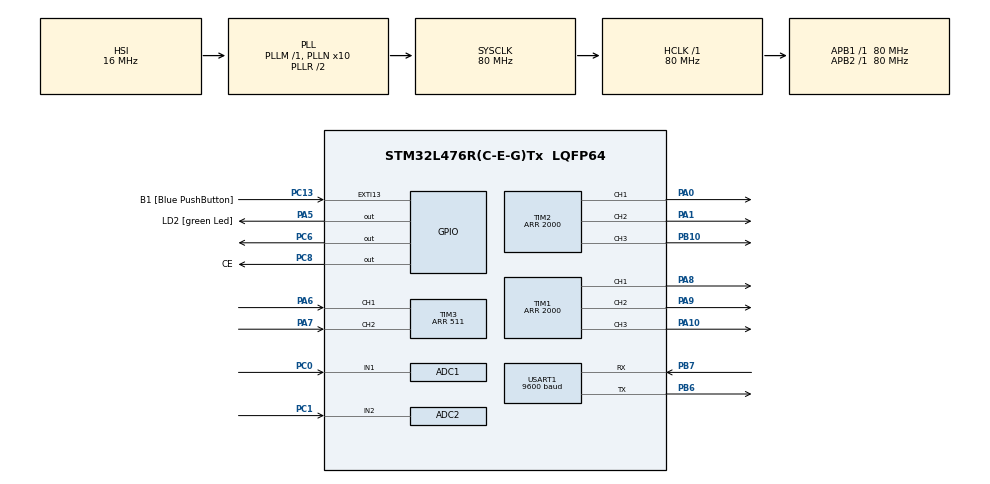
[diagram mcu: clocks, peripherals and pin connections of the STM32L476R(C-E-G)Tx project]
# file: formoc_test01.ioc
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ADC1.DMAAccessModeView=ENABLE
ADC1.DMAContinuousRequests=ENABLE
ADC1.ExternalTrigConv=ADC_EXTERNALTRIG_T15_TRGO
ADC1.Mode=ADC_DUALMODE_REGSIMULT
ADC1.NbrOfConversionFlag=1
ADC1.SamplingTime-1\#ChannelRegularConversion=ADC_SAMPLETIME_247CYCLES_5
ADC1.master=1
ADC2.Channel-0\#ChannelRegularConversion=ADC_CHANNEL_2
ADC2.ContinuousConvMode=DISABLE
ADC2.DMAAccessModeView=ENABLE
ADC2.DMAContinuousRequests=DISABLE
ADC2.Mode=ADC_DUALMODE_REGSIMULT
ADC2.NbrOfConversion=1
ADC2.NbrOfConversionFlag=1
ADC2.OffsetNumber-0\#ChannelRegularConversion=ADC_OFFSET_NONE
ADC2.Overrun=ADC_OVR_DATA_PRESERVED
ADC2.Rank-0\#ChannelRegularConversion=1
ADC2.Resolution=ADC_RESOLUTION_12B
ADC2.SamplingTime-0\#ChannelRegularConversion=ADC_SAMPLETIME_247CYCLES_5
Dma.ADC1.0.Direction=DMA_PERIPH_TO_MEMORY
Dma.ADC1.0.Instance=DMA1_Channel1
Dma.ADC1.0.MemDataAlignment=DMA_MDATAALIGN_WORD
Dma.ADC1.0.MemInc=DMA_MINC_ENABLE
Dma.ADC1.0.Mode=DMA_CIRCULAR
Dma.ADC1.0.PeriphDataAlignment=DMA_PDATAALIGN_WORD
Dma.ADC1.0.PeriphInc=DMA_PINC_DISABLE
Dma.ADC1.0.Priority=DMA_PRIORITY_LOW
Dma.Request0=ADC1
Mcu.Family=STM32L4
Mcu.Name=STM32L476R(C-E-G)Tx
Mcu.Package=LQFP64
NVIC.DMA1_Channel1_IRQn=true\:0\:0\:false\:false\:true\:false\:true
NVIC.PriorityGroup=NVIC_PRIORITYGROUP_4
NVIC.TIM1_TRG_COM_TIM17_IRQn=true\:6\:0\:true\:false\:true\:true\:true
NVIC.TIM1_UP_TIM16_IRQn=true\:0\:0\:false\:false\:true\:true\:true
NVIC.TIM2_IRQn=true\:0\:0\:true\:false\:true\:true\:true
PA0.Signal=S_TIM2_CH1
PA1.Signal=S_TIM2_CH2
PA10.Signal=S_TIM1_CH3
PA13\ (JTMS-SWDIO).GPIO_Label=TMS
PA13\ (JTMS-SWDIO).Mode=Serial_Wire
PA13\ (JTMS-SWDIO).Signal=SYS_JTMS-SWDIO
PA14\ (JTCK-SWCLK).GPIO_Label=TCK
PA14\ (JTCK-SWCLK).Mode=Serial_Wire
PA14\ (JTCK-SWCLK).Signal=SYS_JTCK-SWCLK
PA2.GPIO_Label=USART_TX
PA2.GPIO_Mode=GPIO_MODE_AF_PP
PA2.GPIO_PuPd=GPIO_NOPULL
PA2.GPIO_Speed=GPIO_SPEED_FREQ_VERY_HIGH
PA2.Signal=USART2_TX
PA3.GPIO_Label=USART_RX
PA3.GPIO_Mode=GPIO_MODE_AF_PP
PA3.GPIO_PuPd=GPIO_NOPULL
PA3.GPIO_Speed=GPIO_SPEED_FREQ_VERY_HIGH
PA3.Signal=USART2_RX
PA5.GPIO_Label=LD2 [green Led]
PA5.GPIO_ModeDefaultOutputPP=GPIO_MODE_OUTPUT_PP
PA5.GPIO_PuPd=GPIO_NOPULL
PA5.GPIO_Speed=GPIO_SPEED_FREQ_LOW
PA5.Signal=GPIO_Output
PA6.Signal=S_TIM3_CH1
PA7.Signal=S_TIM3_CH2
PA8.Signal=S_TIM1_CH1
PA9.Signal=S_TIM1_CH2
PB10.Signal=S_TIM2_CH3
PB3\ (JTDO-TRACESWO).GPIO_Label=SWO
PB3\ (JTDO-TRACESWO).Signal=SYS_JTDO-SWO
PB6.GPIO_FM6=__NULL
PB6.GPIO_ModeDefaultPP=GPIO_MODE_AF_OD
PB6.GPIO_PuPd=GPIO_PULLUP
PB6.Mode=Asynchronous
PB6.Signal=USART1_TX
PB7.GPIO_FM7=__NULL
PB7.GPIO_ModeDefaultPP=GPIO_MODE_AF_OD
PB7.GPIO_PuPd=GPIO_PULLUP
PB7.Mode=Asynchronous
PB7.Signal=USART1_RX
PC0.Signal=ADCx_IN1
PC1.Signal=ADCx_IN2
PC13.GPIO_Label=B1 [Blue PushButton]
PC13.GPIO_ModeDefaultEXTI=GPIO_MODE_IT_FALLING
PC13.GPIO_PuPd=GPIO_NOPULL
PC13.Signal=GPXTI13
PC14-OSC32_IN\ (PC14).Mode=LSE-External-Oscillator
PC14-OSC32_IN\ (PC14).Signal=RCC_OSC32_IN
PC15-OSC32_OUT\ (PC15).Mode=LSE-External-Oscillator
PC15-OSC32_OUT\ (PC15).Signal=RCC_OSC32_OUT
PC2.Signal=ADCx_IN3
PC6.Signal=GPIO_Output
PC8.GPIO_Label=CE
PC8.GPIO_Speed=GPIO_SPEED_FREQ_MEDIUM
PC8.Signal=GPIO_Output
PH0-OSC_IN\ (PH0).Signal=RCC_OSC_IN
PH1-OSC_OUT\ (PH1).Signal=RCC_OSC_OUT
ProjectManager.HeapSize=0x200
ProjectManager.StackSize=0x400
ProjectManager.TargetToolchain=STM32CubeIDE
RCC.ADCFreq_Value=80000000
RCC.AHBFreq_Value=80000000
RCC.APB1Freq_Value=80000000
RCC.APB1TimFreq_Value=80000000
RCC.APB2Freq_Value=80000000
RCC.APB2TimFreq_Value=80000000
RCC.CortexFreq_Value=80000000
RCC.HCLKFreq_Value=80000000
RCC.HSE_VALUE=8000000
RCC.HSI_VALUE=16000000
RCC.MSI_VALUE=4000000
RCC.PLLN=10
RCC.PLLSAI1N=10
RCC.PLLSourceVirtual=RCC_PLLSOURCE_HSI
RCC.PREFETCH_ENABLE=1
RCC.SYSCLKFreq_VALUE=80000000
RCC.SYSCLKSource=RCC_SYSCLKSOURCE_PLLCLK
RCC.USBFreq_Value=80000000
RCC.VCOOutputFreq_Value=160000000
SH.ADCx_IN1.0=ADC1_IN1,IN1-Single-Ended
SH.ADCx_IN2.0=ADC2_IN2,IN2-Single-Ended
SH.ADCx_IN3.0=ADC3_IN3
SH.S_TIM1_CH1.0=TIM1_CH1,PWM Generation1 CH1
SH.S_TIM1_CH2.0=TIM1_CH2,PWM Generation2 CH2
SH.S_TIM1_CH3.0=TIM1_CH3,PWM Generation3 CH3
SH.S_TIM2_CH1.0=TIM2_CH1,PWM Generation1 CH1
SH.S_TIM2_CH2.0=TIM2_CH2,PWM Generation2 CH2
SH.S_TIM2_CH3.0=TIM2_CH3,PWM Generation3 CH3
SH.S_TIM3_CH1.0=TIM3_CH1,Encoder_Interface
SH.S_TIM3_CH2.0=TIM3_CH2,Encoder_Interface
TIM1.Channel-PWM\ Generation1\ CH1=TIM_CHANNEL_1
TIM1.Channel-PWM\ Generation2\ CH2=TIM_CHANNEL_2
TIM1.Channel-PWM\ Generation3\ CH3=TIM_CHANNEL_3
TIM1.CounterMode=TIM_COUNTERMODE_CENTERALIGNED1
TIM1.OCPolarity_1=TIM_OCPOLARITY_LOW
TIM1.OCPolarity_2=TIM_OCPOLARITY_LOW
TIM1.OCPolarity_3=TIM_OCPOLARITY_LOW
TIM1.Period=2000
TIM1.TIM_MasterOutputTrigger=TIM_TRGO_UPDATE
TIM1.TIM_MasterSlaveMode=TIM_MASTERSLAVEMODE_DISABLE
TIM15.Period=3999
TIM15.TIM_MasterOutputTrigger=TIM_TRGO_UPDATE
TIM16.Period=99
TIM16.Prescaler=99
TIM17.Period=9999
TIM17.Prescaler=7999
TIM2.Channel-PWM\ Generation1\ CH1=TIM_CHANNEL_1
TIM2.Channel-PWM\ Generation2\ CH2=TIM_CHANNEL_2
TIM2.Channel-PWM\ Generation3\ CH3=TIM_CHANNEL_3
TIM2.CounterMode=TIM_COUNTERMODE_CENTERALIGNED1
TIM2.Period=2000
TIM3.Period=511
USART1.BaudRate=9600
USART1.DMADisableonRxErrorParam=ADVFEATURE_DMA_DISABLEONRXERROR
USART1.OverSampling=UART_OVERSAMPLING_16
USART1.OverrunDisableParam=ADVFEATURE_OVERRUN_DISABLE
USART1.RxPinLevelInvertParam=ADVFEATURE_RXINV_DISABLE
USART1.StopBits=STOPBITS_1
USART1.TxPinLevelInvertParam=ADVFEATURE_TXINV_DISABLE
USART1.VirtualMode-Asynchronous=VM_ASYNC
VP_TIM15_VS_ClockSourceINT.Mode=Internal
VP_TIM16_VS_ClockSourceINT.Mode=Enable_Timer
VP_TIM17_VS_ClockSourceINT.Mode=Enable_Timer
board=NUCLEO-L476RG

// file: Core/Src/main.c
/* USER CODE BEGIN Header */
/**
  ******************************************************************************
  * @file           : main.c
  * @brief          : Main program body
  ******************************************************************************
  * @attention
  *
  * Copyright (c) 2022 STMicroelectronics.
  * All rights reserved.
  *
  * This software is licensed under terms that can be found in the LICENSE file
  * in the root directory of this software component.
  * If no LICENSE file comes with this software, it is provided AS-IS.
  *
  ******************************************************************************
  */
/* USER CODE END Header */
#include "main.h"
#include "adc.h"
#include "dma.h"
#include "tim.h"
#include "usart.h"
#include "gpio.h"

/* USER CODE BEGIN Includes */

#include "pid.h"
#include "utilities.h"
#include "transformations.h"

#include "mcp8024.h"
#include "phase_current.h"
#include "motor.h"

/* USER CODE END Includes */

void SystemClock_Config(void);
void PeriphCommonClock_Config(void);

/* USER CODE BEGIN 0 */

struct {
	uint8_t foc_loop : 1;
	uint8_t mcp8024_status : 1;
} flags = {0};

Motor_t motor;
MCP8024_t mcp8024;
PhaseCurrent_t phase_current;

PID_StructTypeDef Id_controller;
PID_StructTypeDef Iq_controller;

/* USER CODE END 0 */

int main(void)
{

  /* MCU Configuration--------------------------------------------------------*/

  /* Reset of all peripherals, Initializes the Flash interface and the Systick. */
  HAL_Init();

  /* Configure the system clock */
  SystemClock_Config();

/* Configure the peripherals common clocks */
  PeriphCommonClock_Config();

  /* Initialize all configured peripherals */
  MX_GPIO_Init();
  MX_DMA_Init();
  MX_USART1_UART_Init();
  MX_ADC1_Init();
  MX_ADC2_Init();
  MX_TIM1_Init();
  MX_TIM2_Init();
  MX_TIM3_Init();
  MX_TIM16_Init();
  MX_TIM17_Init();
  MX_TIM15_Init();

  /* Infinite loop */
  /* USER CODE BEGIN WHILE */

  PID_Init(&Id_controller, 0.5f, 0.6f, 0.f, 1.f, 1.f);
  PID_Init(&Iq_controller, 0.75f, 0.45f, 0.f, 5.f, 1.f);

  MCP8024_Init(&mcp8024, CE_GPIO_Port, CE_Pin, &huart1, &htim2, &htim1);
  PhaseCurrent_Init(&phase_current, &hadc1, &hadc2);

  MCP8024_SetFill(&mcp8024, (float32x3_t){.3f, 0.f, 0.f});
  HAL_Delay(1000);
  Motor_Init(&motor, &htim3, 0.0775f);

  __HAL_TIM_SET_COUNTER(mcp8024.mosfet_l_timer, 0);
  __HAL_TIM_SET_COUNTER(mcp8024.mosfet_h_timer, 0);
  __HAL_TIM_SET_COUNTER(&htim15, 2400);
  HAL_TIM_Base_Start(&htim15);

  HAL_TIM_Base_Start_IT(&htim16);
  //HAL_TIM_Base_Start_IT(&htim17);

  while(1) {

	  //GPIOC->BSRR = GPIO_PIN_6;
	  //GPIOC->BRR = GPIO_PIN_6;

	  if(!HAL_GPIO_ReadPin(B1_GPIO_Port, B1_Pin))
		  PhaseCurrent_Reset(&phase_current);

	  /*if(flags.mcp8024_status) {
		  flags.mcp8024_status = 0;

		  MCP8024_GetStatus(&mcp8024);
	  }*/

	  if(!HAL_GPIO_ReadPin(B1_GPIO_Port, B1_Pin)) {
		  HAL_GPIO_WritePin(CE_GPIO_Port, CE_Pin, GPIO_PIN_RESET);
		  HAL_Delay(100);
		  HAL_GPIO_WritePin(CE_GPIO_Port, CE_Pin, GPIO_PIN_SET);
		  HAL_Delay(100);
	  }

	  /*PhaseCurrent_GetCurrent(&phase_current);

		__HAL_TIM_SET_COMPARE(mcp8024.mosfet_h_timer, TIM_CHANNEL_1, 0);
		__HAL_TIM_SET_COMPARE(mcp8024.mosfet_h_timer, TIM_CHANNEL_2, 0);
		__HAL_TIM_SET_COMPARE(mcp8024.mosfet_h_timer, TIM_CHANNEL_3, 0);

		__HAL_TIM_SET_COMPARE(mcp8024.mosfet_l_timer, TIM_CHANNEL_1, 0);
		__HAL_TIM_SET_COMPARE(mcp8024.mosfet_l_timer, TIM_CHANNEL_2, 0);
		__HAL_TIM_SET_COMPARE(mcp8024.mosfet_l_timer, TIM_CHANNEL_3, 0);*/

	  if(flags.foc_loop) {
	  //if(PhaseCurrent_IsReady(&phase_current)) {
		  flags.foc_loop = 0;

		  float angle = Motor_GetElectricalPosition(&motor)*_2_PI;
		  float theta = normalize_angle(angle);

		  float32x3_t Iabc = PhaseCurrent_GetCurrent(&phase_current);

		  float32x3_t Iab0 = clark_transformation(Iabc);
		  float32x3_t Idq0 = park_transformation(Iab0, theta);

		  float32x3_t Vdq0 = {
				  PID_Update(&Id_controller, Idq0.x, 0),
				  PID_Update(&Iq_controller, Idq0.y, 3.f),
				  0
		  };

		  //Vector3f_t Vdq0 = {2, 0, 0};

		  Vdq0.x = (1.f - Vdq0.x)*0.5f;
		  Vdq0.y = (1.f - Vdq0.y)*0.5f;
		  Vdq0.z = (1.f - Vdq0.z)*0.5f;

		  float32x3_t Vab0 = inverse_park_transformation(Vdq0, theta);
		  float32x3_t Vabc = space_vector_modulation(Vab0);

		  /*Vector3f_t Vabc = inverse_clark_transformation(Vab0);
		  Vabc.x = (1.f - Vabc.x)*0.5f;
		  Vabc.y = (1.f - Vabc.y)*0.5f;
		  Vabc.z = (1.f - Vabc.z)*0.5f;*/

		  //Vabc = (const Vector3f_t){0.f, 0.f, 0.f};

		  MCP8024_SetFill(&mcp8024, Vabc);
	  }

    /* USER CODE END WHILE */

  }
}

void SystemClock_Config(void)
{
  RCC_OscInitTypeDef RCC_OscInitStruct = {0};
  RCC_ClkInitTypeDef RCC_ClkInitStruct = {0};

  /** Configure the main internal regulator output voltage
  */
  if (HAL_PWREx_ControlVoltageScaling(PWR_REGULATOR_VOLTAGE_SCALE1) != HAL_OK)
  {
    Error_Handler();
  }
  /** Initializes the RCC Oscillators according to the specified parameters
  * in the RCC_OscInitTypeDef structure.
  */
  RCC_OscInitStruct.OscillatorType = RCC_OSCILLATORTYPE_HSI;
  RCC_OscInitStruct.HSIState = RCC_HSI_ON;
  RCC_OscInitStruct.HSICalibrationValue = RCC_HSICALIBRATION_DEFAULT;
  RCC_OscInitStruct.PLL.PLLState = RCC_PLL_ON;
  RCC_OscInitStruct.PLL.PLLSource = RCC_PLLSOURCE_HSI;
  RCC_OscInitStruct.PLL.PLLM = 1;
  RCC_OscInitStruct.PLL.PLLN = 10;
  RCC_OscInitStruct.PLL.PLLP = RCC_PLLP_DIV7;
  RCC_OscInitStruct.PLL.PLLQ = RCC_PLLQ_DIV2;
  RCC_OscInitStruct.PLL.PLLR = RCC_PLLR_DIV2;
  if (HAL_RCC_OscConfig(&RCC_OscInitStruct) != HAL_OK)
  {
    Error_Handler();
  }
  /** Initializes the CPU, AHB and APB buses clocks
  */
  RCC_ClkInitStruct.ClockType = RCC_CLOCKTYPE_HCLK|RCC_CLOCKTYPE_SYSCLK
                              |RCC_CLOCKTYPE_PCLK1|RCC_CLOCKTYPE_PCLK2;
  RCC_ClkInitStruct.SYSCLKSource = RCC_SYSCLKSOURCE_PLLCLK;
  RCC_ClkInitStruct.AHBCLKDivider = RCC_SYSCLK_DIV1;
  RCC_ClkInitStruct.APB1CLKDivider = RCC_HCLK_DIV1;
  RCC_ClkInitStruct.APB2CLKDivider = RCC_HCLK_DIV1;

  if (HAL_RCC_ClockConfig(&RCC_ClkInitStruct, FLASH_LATENCY_4) != HAL_OK)
  {
    Error_Handler();
  }
}

void PeriphCommonClock_Config(void)
{
  RCC_PeriphCLKInitTypeDef PeriphClkInit = {0};

  /** Initializes the peripherals clock
  */
  PeriphClkInit.PeriphClockSelection = RCC_PERIPHCLK_ADC;
  PeriphClkInit.AdcClockSelection = RCC_ADCCLKSOURCE_PLLSAI1;
  PeriphClkInit.PLLSAI1.PLLSAI1Source = RCC_PLLSOURCE_HSI;
  PeriphClkInit.PLLSAI1.PLLSAI1M = 1;
  PeriphClkInit.PLLSAI1.PLLSAI1N = 10;
  PeriphClkInit.PLLSAI1.PLLSAI1P = RCC_PLLP_DIV7;
  PeriphClkInit.PLLSAI1.PLLSAI1Q = RCC_PLLQ_DIV2;
  PeriphClkInit.PLLSAI1.PLLSAI1R = RCC_PLLR_DIV2;
  PeriphClkInit.PLLSAI1.PLLSAI1ClockOut = RCC_PLLSAI1_ADC1CLK;
  if (HAL_RCCEx_PeriphCLKConfig(&PeriphClkInit) != HAL_OK)
  {
    Error_Handler();
  }
}

/* USER CODE BEGIN 4 */

void HAL_UART_RxCpltCallback(UART_HandleTypeDef *huart) {
	MCP8024_RxCpltCallback(&mcp8024);
}

void HAL_ADC_ConvCpltCallback(ADC_HandleTypeDef *hadc) {
	PhaseCurrent_ConvCpltCallback(&phase_current, hadc);

	GPIOC->BSRR = GPIO_PIN_6;
	GPIOC->BRR = GPIO_PIN_6;

}

void HAL_TIM_PeriodElapsedCallback(TIM_HandleTypeDef *htim) {

	if(htim->Instance==TIM16) {
		// 20 kHz
		flags.foc_loop = 1;
	} else if(htim->Instance==TIM17) {
		// 1 Hz
		flags.mcp8024_status = 1;
	}

}

/*void HAL_TIM_PWM_PulseFinishedCallback(TIM_HandleTypeDef *htim) {
	if(htim->Instance==TIM1) {
		HAL_GPIO_TogglePin(GPIOC, GPIO_PIN_6);
	}

}*/

/* USER CODE END 4 */

void Error_Handler(void)
{
  __disable_irq();
  while (1)
  {
  }
}
